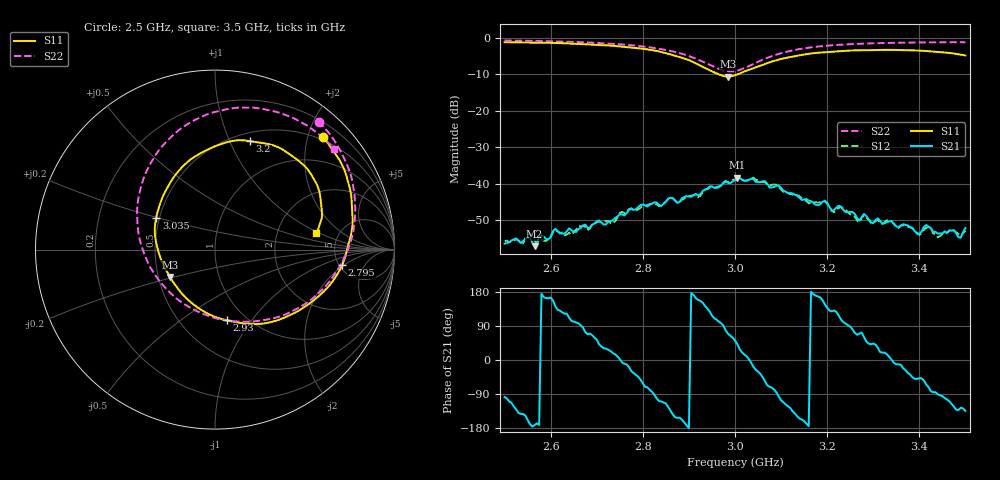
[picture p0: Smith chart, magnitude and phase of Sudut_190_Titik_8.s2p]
# Hz S RI R 50
! CMT, C1220, 16058040, 17.2.0/1
! Date: 15/08/2018 09:56:38
! Data: Format (Calibration Info)
! Freq  S11: Re/Im (F2)  S21: Re/Im (F2)  S12: Re/Im (F2)  S22: Re/Im (F2)
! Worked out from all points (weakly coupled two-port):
!   201 points, 2.5 GHz to 3.5 GHz, reference 50 ohm
!   highest |S21| = -38.28 dB at 3.005 GHz (marker M1); lowest = -57.1 dB at 2.565 GHz (marker M2)
!   lowest |S11| = -10.7 dB at 2.985 GHz (marker M3), VSWR 1.83, Z = 28.8 - j9.58 ohm
!   |S11| at or under -10 dB: 2.965 GHz to 3.006 GHz (41.31 MHz wide, 1.38 % of centre)
!   |S22| runs from -9.2 to -0.7 dB; largest |S21 - S12| = 0.0011
!   S11 on the Smith chart (normalised r, x): 2.5 GHz: 0.44, +2.26; 2.795 GHz: 5.28, -1.88; 2.93 GHz: 0.82, -0.77; 3.035 GHz: 0.48, +0.20; 3.2 GHz: 0.59, +1.19; 3.5 GHz: 3.41, +0.92
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2.5e9  0.599 0.6296  -0.000196 -0.00151  -0.000207 -0.00163  0.5776 0.7136
2.55e9  0.653 0.5578  -0.00172 -0.000686  -0.00175 -0.000935  0.6333 0.6516
2.565e9  0.6697 0.5344  -0.00139 -0.000195  -0.00166 5.47e-05  0.6489 0.6307
2.61e9  0.7158 0.4553  -0.00192 0.00148  -0.00191 0.00134  0.6947 0.5573
2.645e9  0.7431 0.3721  -0.000529 0.00227  -0.000641 0.0019  0.7273 0.4931
2.67e9  0.7573 0.3133  0.0002 0.00269  0.000465 0.00262  0.7486 0.4396
2.795e9  0.7078 -0.0876  0.00317 -0.00403  0.00299 -0.00368  0.7644 0.0733
2.835e9  0.6067 -0.2331  -0.00161 -0.00491  -0.0013 -0.0048  0.7026 -0.0797
2.93e9  0.0654 -0.3938  -0.007 0.00385  -0.00688 0.00352  0.2543 -0.3953
2.985e9  -0.2505 -0.1521  0.00365 0.00963  0.00321 0.01  -0.1784 -0.2993
3e9  -0.3023 -0.0503  0.00711 0.00882  0.00756 0.00859  -0.2789 -0.2105
3.005e9  -0.3138 -0.0162  0.00906 0.00816  0.00901 0.00772  -0.3086 -0.1764
3.035e9  -0.3275 0.1774  0.0117 -0.00142  0.0118 -0.00104  -0.4191 0.0549
3.1e9  -0.1528 0.4886  -0.00246 -0.00843  -0.00275 -0.00788  -0.3413 0.5102
3.17e9  0.1012 0.6059  -0.00548 0.000586  -0.00559 0.000171  -0.0714 0.7417
3.2e9  0.1951 0.6043  -0.00396 0.00361  -0.00381 0.00394  0.0404 0.7762
3.27e9  0.3836 0.5535  0.0011 0.00295  0.000923 0.00285  0.2609 0.7845
3.335e9  0.5102 0.4547  0.00305 0.000407  0.0031 0.000228  0.4142 0.7418
3.4e9  0.578 0.3333  0.00138 -0.00154  0.00125 -0.00158  0.5312 0.6774
3.415e9  0.5861 0.2975  0.00118 -0.00247  0.00113 -0.00224  0.5553 0.6606
3.49e9  0.5759 0.1154  -0.00108 -0.00149  -0.00128 -0.00145  0.6525 0.5712
3.5e9  0.5651 0.0907  -0.00174 -0.00178  -0.00177 -0.00144  0.6635 0.559
